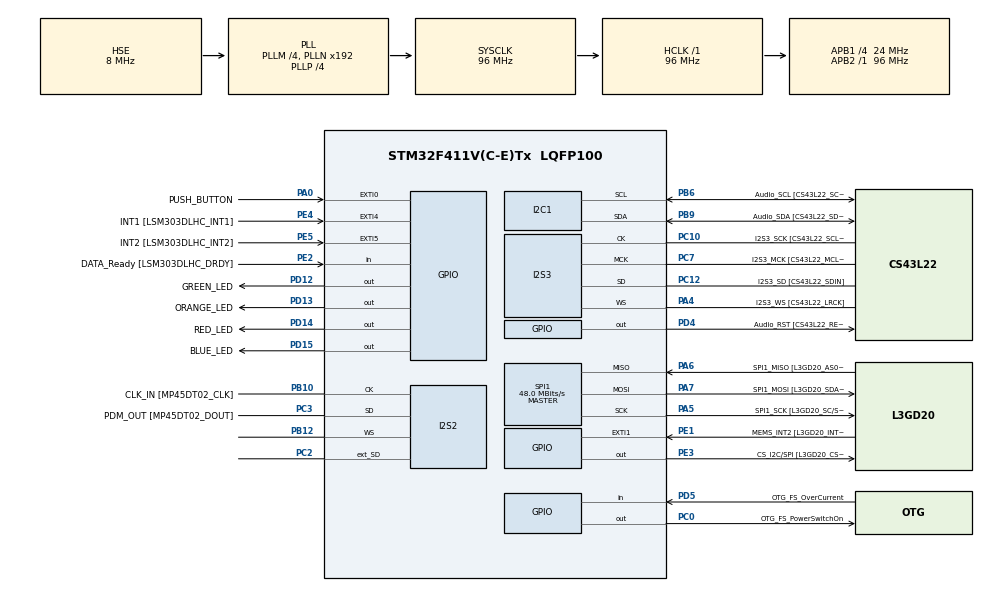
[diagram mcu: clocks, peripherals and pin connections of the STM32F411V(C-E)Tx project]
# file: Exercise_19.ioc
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FREERTOS.Queues01=QS2A,1,uint16_t,0,Dynamic,NULL,NULL
FREERTOS.Tasks01=Monitor,0,128,Start_Monitor,Default,NULL,Dynamic,NULL,NULL;Alarm,0,128,Start_Alarm,Default,NULL,Dynamic,NULL,NULL
I2S2.AudioFreq=I2S_AUDIOFREQ_96K
I2S2.ErrorAudioFreq=0.15 %
I2S2.FullDuplexMode=I2S_FULLDUPLEXMODE_ENABLE
I2S2.Instance=SPI$Index
I2S2.RealAudioFreq=96.153 KHz
I2S2.VirtualMode=I2S_MODE_MASTER
I2S3.AudioFreq=I2S_AUDIOFREQ_96K
I2S3.ErrorAudioFreq=-6.99 %
I2S3.FullDuplexMode=I2S_FULLDUPLEXMODE_DISABLE
I2S3.Instance=SPI$Index
I2S3.RealAudioFreq=89.285 KHz
I2S3.VirtualMode=I2S_MODE_MASTER
Mcu.Family=STM32F4
Mcu.Name=STM32F411V(C-E)Tx
Mcu.Package=LQFP100
NVIC.PriorityGroup=NVIC_PRIORITYGROUP_4
NVIC.TIM1_UP_TIM10_IRQn=true\:0\:0\:false\:false\:true\:false\:false\:true
NVIC.TimeBase=TIM1_UP_TIM10_IRQn
NVIC.TimeBaseIP=TIM1
PA0-WKUP.GPIO_Label=PUSH_BUTTON
PA0-WKUP.GPIO_ModeDefaultEXTI=GPIO_MODE_EVT_RISING
PA0-WKUP.Signal=GPXTI0
PA10.GPIO_Label=OTG_FS_ID
PA10.Signal=USB_OTG_FS_ID
PA11.GPIO_Label=OTG_FS_DM
PA11.Signal=USB_OTG_FS_DM
PA12.GPIO_Label=OTG_FS_DP
PA12.Signal=USB_OTG_FS_DP
PA13.GPIO_Label=SWDIO
PA13.Mode=Serial_Wire
PA13.Signal=SYS_JTMS-SWDIO
PA14.GPIO_Label=SWCLK
PA14.Mode=Serial_Wire
PA14.Signal=SYS_JTCK-SWCLK
PA4.GPIO_Label=I2S3_WS [CS43L22_LRCK]
PA4.GPIO_Mode=GPIO_MODE_AF_PP
PA4.GPIO_PuPd=GPIO_NOPULL
PA4.GPIO_Speed=GPIO_SPEED_FREQ_LOW
PA4.Mode=Half_Duplex_Master
PA4.Signal=I2S3_WS
PA5.GPIO_Label=SPI1_SCK [L3GD20_SC/SPC]
PA5.Mode=Full_Duplex_Master
PA5.Signal=SPI1_SCK
PA6.GPIO_Label=SPI1_MISO [L3GD20_AS0/SDO]
PA6.Mode=Full_Duplex_Master
PA6.Signal=SPI1_MISO
PA7.GPIO_Label=SPI1_MOSI [L3GD20_SDA/SDI/SDO]
PA7.Mode=Full_Duplex_Master
PA7.Signal=SPI1_MOSI
PA9.GPIO_Label=VBUS_FS
PA9.Signal=USB_OTG_FS_VBUS
PB10.GPIO_Label=CLK_IN [MP45DT02_CLK]
PB10.Mode=Full_Duplex_Master
PB10.Signal=I2S2_CK
PB12.Mode=Full_Duplex_Master
PB12.Signal=I2S2_WS
PB3.GPIO_Label=SWO
PB3.Signal=SYS_JTDO-SWO
PB6.GPIO_Label=Audio_SCL [CS43L22_SCL]
PB6.GPIO_Mode=GPIO_MODE_AF_OD
PB6.GPIO_PuPd=GPIO_NOPULL
PB6.GPIO_Speed=GPIO_SPEED_FREQ_LOW
PB6.Mode=I2C
PB6.Signal=I2C1_SCL
PB9.GPIO_Label=Audio_SDA [CS43L22_SDA]
PB9.GPIO_Mode=GPIO_MODE_AF_OD
PB9.GPIO_PuPd=GPIO_NOPULL
PB9.GPIO_Speed=GPIO_SPEED_FREQ_LOW
PB9.Mode=I2C
PB9.Signal=I2C1_SDA
PC0.GPIO_Label=OTG_FS_PowerSwitchOn
PC0.PinState=GPIO_PIN_SET
PC0.Signal=GPIO_Output
PC10.GPIO_Label=I2S3_SCK [CS43L22_SCLK]
PC10.GPIO_Mode=GPIO_MODE_AF_PP
PC10.GPIO_PuPd=GPIO_NOPULL
PC10.GPIO_Speed=GPIO_SPEED_FREQ_LOW
PC10.Mode=Half_Duplex_Master
PC10.Signal=I2S3_CK
PC12.GPIO_Label=I2S3_SD [CS43L22_SDIN]
PC12.GPIO_Mode=GPIO_MODE_AF_PP
PC12.GPIO_PuPd=GPIO_NOPULL
PC12.GPIO_Speed=GPIO_SPEED_FREQ_LOW
PC12.Mode=Half_Duplex_Master
PC12.Signal=I2S3_SD
PC14-OSC32_IN.GPIO_Label=PC14-OSC32_IN
PC14-OSC32_IN.Mode=LSE-External-Oscillator
PC14-OSC32_IN.Signal=RCC_OSC32_IN
PC15-OSC32_OUT.GPIO_Label=PC15-OSC32_OUT
PC15-OSC32_OUT.Mode=LSE-External-Oscillator
PC15-OSC32_OUT.Signal=RCC_OSC32_OUT
PC2.Mode=Full_Duplex_Master
PC2.Signal=I2S2_ext_SD
PC3.GPIO_Label=PDM_OUT [MP45DT02_DOUT]
PC3.Mode=Full_Duplex_Master
PC3.Signal=I2S2_SD
PC7.GPIO_Label=I2S3_MCK [CS43L22_MCLK]
PC7.GPIO_Mode=GPIO_MODE_AF_PP
PC7.GPIO_PuPd=GPIO_NOPULL
PC7.GPIO_Speed=GPIO_SPEED_FREQ_LOW
PC7.Mode=Master_Clock_Activated
PC7.Signal=I2S3_MCK
PD12.GPIO_Label=GREEN_LED
PD12.GPIO_PuPd=GPIO_NOPULL
PD12.GPIO_Speed=GPIO_SPEED_FREQ_LOW
PD12.Signal=GPIO_Output
PD13.GPIO_Label=ORANGE_LED
PD13.GPIO_PuPd=GPIO_NOPULL
PD13.GPIO_Speed=GPIO_SPEED_FREQ_LOW
PD13.Signal=GPIO_Output
PD14.GPIO_Label=RED_LED
PD14.GPIO_PuPd=GPIO_NOPULL
PD14.GPIO_Speed=GPIO_SPEED_FREQ_LOW
PD14.Signal=GPIO_Output
PD15.GPIO_Label=BLUE_LED
PD15.GPIO_PuPd=GPIO_NOPULL
PD15.GPIO_Speed=GPIO_SPEED_FREQ_LOW
PD15.Signal=GPIO_Output
PD4.GPIO_Label=Audio_RST [CS43L22_RESET]
PD4.Signal=GPIO_Output
PD5.GPIO_Label=OTG_FS_OverCurrent
PD5.Signal=GPIO_Input
PE1.GPIO_Label=MEMS_INT2 [L3GD20_INT2]
PE1.GPIO_ModeDefaultEXTI=GPIO_MODE_EVT_RISING
PE1.Signal=GPXTI1
PE2.GPIO_Label=DATA_Ready [LSM303DLHC_DRDY]
PE2.Signal=GPIO_Input
PE3.GPIO_Label=CS_I2C/SPI [L3GD20_CS_I2C/SPI]
PE3.Signal=GPIO_Output
PE4.GPIO_Label=INT1 [LSM303DLHC_INT1]
PE4.GPIO_ModeDefaultEXTI=GPIO_MODE_EVT_RISING
PE4.Signal=GPXTI4
PE5.GPIO_Label=INT2 [LSM303DLHC_INT2]
PE5.GPIO_ModeDefaultEXTI=GPIO_MODE_EVT_RISING
PE5.Signal=GPXTI5
PH0\ -\ OSC_IN.GPIO_Label=PH0-OSC_IN
PH0\ -\ OSC_IN.Mode=HSE-External-Oscillator
PH0\ -\ OSC_IN.Signal=RCC_OSC_IN
PH1\ -\ OSC_OUT.GPIO_Label=PH1-OSC_OUT
PH1\ -\ OSC_OUT.Mode=HSE-External-Oscillator
PH1\ -\ OSC_OUT.Signal=RCC_OSC_OUT
ProjectManager.HeapSize=0x200
ProjectManager.StackSize=0x400
ProjectManager.TargetToolchain=STM32CubeIDE
RCC.48MHZClocksFreq_Value=48000000
RCC.AHBFreq_Value=96000000
RCC.APB1CLKDivider=RCC_HCLK_DIV4
RCC.APB1Freq_Value=24000000
RCC.APB1TimFreq_Value=48000000
RCC.APB2Freq_Value=96000000
RCC.APB2TimFreq_Value=96000000
RCC.CortexFreq_Value=96000000
RCC.HCLKFreq_Value=96000000
RCC.HSE_VALUE=8000000
RCC.HSI_VALUE=16000000
RCC.PLLI2SM=5
RCC.PLLI2SN=200
RCC.PLLM=4
RCC.PLLP=RCC_PLLP_DIV4
RCC.PLLQ=8
RCC.PLLSourceVirtual=RCC_PLLSOURCE_HSE
RCC.SYSCLKFreq_VALUE=96000000
RCC.SYSCLKSource=RCC_SYSCLKSOURCE_PLLCLK
RCC.VCOOutputFreq_Value=384000000
SPI1.BaudRatePrescaler=SPI_BAUDRATEPRESCALER_2
SPI1.CalculateBaudRate=48.0 MBits/s
SPI1.Direction=SPI_DIRECTION_2LINES
SPI1.Mode=SPI_MODE_MASTER
SPI1.VirtualType=VM_MASTER
VP_FREERTOS_VS_CMSIS_V1.Mode=CMSIS_V1
VP_SYS_VS_tim1.Mode=TIM1
board=STM32F411E-DISCO

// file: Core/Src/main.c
/* USER CODE BEGIN Header */
/**
  ******************************************************************************
  * @file           : main.c
  * @brief          : Main program body
  ******************************************************************************
  * @attention
  *
  * <h2><center>&copy; Copyright (c) 2024 STMicroelectronics.
  * All rights reserved.</center></h2>
  *
  * This software component is licensed by ST under Ultimate Liberty license
  * SLA0044, the "License"; You may not use this file except in compliance with
  * the License. You may obtain a copy of the License at:
  *                             www.st.com/SLA0044
  *
  ******************************************************************************
  */
/* USER CODE END Header */

#include "main.h"
#include "cmsis_os.h"

/* USER CODE BEGIN PTD */
typedef enum {ALARM_ON,ALARM_OFF} alarm_status_t ;
/* USER CODE END PTD */

I2C_HandleTypeDef hi2c1;

I2S_HandleTypeDef hi2s2;
I2S_HandleTypeDef hi2s3;

SPI_HandleTypeDef hspi1;

osThreadId MonitorHandle;
osThreadId AlarmHandle;
osMessageQId QS2AHandle;

void SystemClock_Config(void);
static void MX_GPIO_Init(void);
static void MX_I2C1_Init(void);
static void MX_I2S2_Init(void);
static void MX_I2S3_Init(void);
static void MX_SPI1_Init(void);
void Start_Monitor(void const * argument);
void Start_Alarm(void const * argument);

int main(void)
{

  /* MCU Configuration--------------------------------------------------------*/

  /* Reset of all peripherals, Initializes the Flash interface and the Systick. */
  HAL_Init();

  /* Configure the system clock */
  SystemClock_Config();

  /* Initialize all configured peripherals */
  MX_GPIO_Init();
  MX_I2C1_Init();
  MX_I2S2_Init();
  MX_I2S3_Init();
  MX_SPI1_Init();

  /* Create the queue(s) */
  /* definition and creation of QS2A */
  osMessageQDef(QS2A, 1, uint16_t);
  QS2AHandle = osMessageCreate(osMessageQ(QS2A), NULL);

  /* Create the thread(s) */
  /* definition and creation of Monitor */
  osThreadDef(Monitor, Start_Monitor, osPriorityNormal, 0, 128);
  MonitorHandle = osThreadCreate(osThread(Monitor), NULL);

  /* definition and creation of Alarm */
  osThreadDef(Alarm, Start_Alarm, osPriorityNormal, 0, 128);
  AlarmHandle = osThreadCreate(osThread(Alarm), NULL);

  /* Start scheduler */
  osKernelStart();

  /* We should never get here as control is now taken by the scheduler */

  /* Infinite loop */
  while (1)
  {

  }
}

void SystemClock_Config(void)
{
  RCC_OscInitTypeDef RCC_OscInitStruct = {0};
  RCC_ClkInitTypeDef RCC_ClkInitStruct = {0};
  RCC_PeriphCLKInitTypeDef PeriphClkInitStruct = {0};

  /** Configure the main internal regulator output voltage
  */
  __HAL_RCC_PWR_CLK_ENABLE();
  __HAL_PWR_VOLTAGESCALING_CONFIG(PWR_REGULATOR_VOLTAGE_SCALE1);
  /** Initializes the CPU, AHB and APB busses clocks
  */
  RCC_OscInitStruct.OscillatorType = RCC_OSCILLATORTYPE_HSE;
  RCC_OscInitStruct.HSEState = RCC_HSE_ON;
  RCC_OscInitStruct.PLL.PLLState = RCC_PLL_ON;
  RCC_OscInitStruct.PLL.PLLSource = RCC_PLLSOURCE_HSE;
  RCC_OscInitStruct.PLL.PLLM = 4;
  RCC_OscInitStruct.PLL.PLLN = 192;
  RCC_OscInitStruct.PLL.PLLP = RCC_PLLP_DIV4;
  RCC_OscInitStruct.PLL.PLLQ = 8;
  if (HAL_RCC_OscConfig(&RCC_OscInitStruct) != HAL_OK)
  {
    Error_Handler();
  }
  /** Initializes the CPU, AHB and APB busses clocks
  */
  RCC_ClkInitStruct.ClockType = RCC_CLOCKTYPE_HCLK|RCC_CLOCKTYPE_SYSCLK
                              |RCC_CLOCKTYPE_PCLK1|RCC_CLOCKTYPE_PCLK2;
  RCC_ClkInitStruct.SYSCLKSource = RCC_SYSCLKSOURCE_PLLCLK;
  RCC_ClkInitStruct.AHBCLKDivider = RCC_SYSCLK_DIV1;
  RCC_ClkInitStruct.APB1CLKDivider = RCC_HCLK_DIV4;
  RCC_ClkInitStruct.APB2CLKDivider = RCC_HCLK_DIV1;

  if (HAL_RCC_ClockConfig(&RCC_ClkInitStruct, FLASH_LATENCY_3) != HAL_OK)
  {
    Error_Handler();
  }
  PeriphClkInitStruct.PeriphClockSelection = RCC_PERIPHCLK_I2S;
  PeriphClkInitStruct.PLLI2S.PLLI2SN = 200;
  PeriphClkInitStruct.PLLI2S.PLLI2SM = 5;
  PeriphClkInitStruct.PLLI2S.PLLI2SR = 2;
  if (HAL_RCCEx_PeriphCLKConfig(&PeriphClkInitStruct) != HAL_OK)
  {
    Error_Handler();
  }
}

static void MX_I2C1_Init(void)
{

  hi2c1.Instance = I2C1;
  hi2c1.Init.ClockSpeed = 100000;
  hi2c1.Init.DutyCycle = I2C_DUTYCYCLE_2;
  hi2c1.Init.OwnAddress1 = 0;
  hi2c1.Init.AddressingMode = I2C_ADDRESSINGMODE_7BIT;
  hi2c1.Init.DualAddressMode = I2C_DUALADDRESS_DISABLE;
  hi2c1.Init.OwnAddress2 = 0;
  hi2c1.Init.GeneralCallMode = I2C_GENERALCALL_DISABLE;
  hi2c1.Init.NoStretchMode = I2C_NOSTRETCH_DISABLE;
  if (HAL_I2C_Init(&hi2c1) != HAL_OK)
  {
    Error_Handler();
  }

}

static void MX_I2S2_Init(void)
{

  hi2s2.Instance = SPI2;
  hi2s2.Init.Mode = I2S_MODE_MASTER_TX;
  hi2s2.Init.Standard = I2S_STANDARD_PHILIPS;
  hi2s2.Init.DataFormat = I2S_DATAFORMAT_16B;
  hi2s2.Init.MCLKOutput = I2S_MCLKOUTPUT_DISABLE;
  hi2s2.Init.AudioFreq = I2S_AUDIOFREQ_96K;
  hi2s2.Init.CPOL = I2S_CPOL_LOW;
  hi2s2.Init.ClockSource = I2S_CLOCK_PLL;
  hi2s2.Init.FullDuplexMode = I2S_FULLDUPLEXMODE_ENABLE;
  if (HAL_I2S_Init(&hi2s2) != HAL_OK)
  {
    Error_Handler();
  }

}

static void MX_I2S3_Init(void)
{

  hi2s3.Instance = SPI3;
  hi2s3.Init.Mode = I2S_MODE_MASTER_TX;
  hi2s3.Init.Standard = I2S_STANDARD_PHILIPS;
  hi2s3.Init.DataFormat = I2S_DATAFORMAT_16B;
  hi2s3.Init.MCLKOutput = I2S_MCLKOUTPUT_ENABLE;
  hi2s3.Init.AudioFreq = I2S_AUDIOFREQ_96K;
  hi2s3.Init.CPOL = I2S_CPOL_LOW;
  hi2s3.Init.ClockSource = I2S_CLOCK_PLL;
  hi2s3.Init.FullDuplexMode = I2S_FULLDUPLEXMODE_DISABLE;
  if (HAL_I2S_Init(&hi2s3) != HAL_OK)
  {
    Error_Handler();
  }

}

static void MX_SPI1_Init(void)
{

  /* SPI1 parameter configuration*/
  hspi1.Instance = SPI1;
  hspi1.Init.Mode = SPI_MODE_MASTER;
  hspi1.Init.Direction = SPI_DIRECTION_2LINES;
  hspi1.Init.DataSize = SPI_DATASIZE_8BIT;
  hspi1.Init.CLKPolarity = SPI_POLARITY_LOW;
  hspi1.Init.CLKPhase = SPI_PHASE_1EDGE;
  hspi1.Init.NSS = SPI_NSS_SOFT;
  hspi1.Init.BaudRatePrescaler = SPI_BAUDRATEPRESCALER_2;
  hspi1.Init.FirstBit = SPI_FIRSTBIT_MSB;
  hspi1.Init.TIMode = SPI_TIMODE_DISABLE;
  hspi1.Init.CRCCalculation = SPI_CRCCALCULATION_DISABLE;
  hspi1.Init.CRCPolynomial = 10;
  if (HAL_SPI_Init(&hspi1) != HAL_OK)
  {
    Error_Handler();
  }

}

static void MX_GPIO_Init(void)
{
  GPIO_InitTypeDef GPIO_InitStruct = {0};

  /* GPIO Ports Clock Enable */
  __HAL_RCC_GPIOE_CLK_ENABLE();
  __HAL_RCC_GPIOC_CLK_ENABLE();
  __HAL_RCC_GPIOH_CLK_ENABLE();
  __HAL_RCC_GPIOA_CLK_ENABLE();
  __HAL_RCC_GPIOB_CLK_ENABLE();
  __HAL_RCC_GPIOD_CLK_ENABLE();

  /*Configure GPIO pin Output Level */
  HAL_GPIO_WritePin(CS_I2C_SPI_GPIO_Port, CS_I2C_SPI_Pin, GPIO_PIN_RESET);

  /*Configure GPIO pin Output Level */
  HAL_GPIO_WritePin(OTG_FS_PowerSwitchOn_GPIO_Port, OTG_FS_PowerSwitchOn_Pin, GPIO_PIN_SET);

  /*Configure GPIO pin Output Level */
  HAL_GPIO_WritePin(GPIOD, GREEN_LED_Pin|ORANGE_LED_Pin|RED_LED_Pin|BLUE_LED_Pin
                          |Audio_RST_Pin, GPIO_PIN_RESET);

  /*Configure GPIO pin : DATA_Ready_Pin */
  GPIO_InitStruct.Pin = DATA_Ready_Pin;
  GPIO_InitStruct.Mode = GPIO_MODE_INPUT;
  GPIO_InitStruct.Pull = GPIO_NOPULL;
  HAL_GPIO_Init(DATA_Ready_GPIO_Port, &GPIO_InitStruct);

  /*Configure GPIO pin : CS_I2C_SPI_Pin */
  GPIO_InitStruct.Pin = CS_I2C_SPI_Pin;
  GPIO_InitStruct.Mode = GPIO_MODE_OUTPUT_PP;
  GPIO_InitStruct.Pull = GPIO_NOPULL;
  GPIO_InitStruct.Speed = GPIO_SPEED_FREQ_LOW;
  HAL_GPIO_Init(CS_I2C_SPI_GPIO_Port, &GPIO_InitStruct);

  /*Configure GPIO pins : INT1_Pin INT2_Pin MEMS_INT2_Pin */
  GPIO_InitStruct.Pin = INT1_Pin|INT2_Pin|MEMS_INT2_Pin;
  GPIO_InitStruct.Mode = GPIO_MODE_EVT_RISING;
  GPIO_InitStruct.Pull = GPIO_NOPULL;
  HAL_GPIO_Init(GPIOE, &GPIO_InitStruct);

  /*Configure GPIO pin : OTG_FS_PowerSwitchOn_Pin */
  GPIO_InitStruct.Pin = OTG_FS_PowerSwitchOn_Pin;
  GPIO_InitStruct.Mode = GPIO_MODE_OUTPUT_PP;
  GPIO_InitStruct.Pull = GPIO_NOPULL;
  GPIO_InitStruct.Speed = GPIO_SPEED_FREQ_LOW;
  HAL_GPIO_Init(OTG_FS_PowerSwitchOn_GPIO_Port, &GPIO_InitStruct);

  /*Configure GPIO pin : PUSH_BUTTON_Pin */
  GPIO_InitStruct.Pin = PUSH_BUTTON_Pin;
  GPIO_InitStruct.Mode = GPIO_MODE_EVT_RISING;
  GPIO_InitStruct.Pull = GPIO_NOPULL;
  HAL_GPIO_Init(PUSH_BUTTON_GPIO_Port, &GPIO_InitStruct);

  /*Configure GPIO pins : GREEN_LED_Pin ORANGE_LED_Pin RED_LED_Pin BLUE_LED_Pin
                           Audio_RST_Pin */
  GPIO_InitStruct.Pin = GREEN_LED_Pin|ORANGE_LED_Pin|RED_LED_Pin|BLUE_LED_Pin
                          |Audio_RST_Pin;
  GPIO_InitStruct.Mode = GPIO_MODE_OUTPUT_PP;
  GPIO_InitStruct.Pull = GPIO_NOPULL;
  GPIO_InitStruct.Speed = GPIO_SPEED_FREQ_LOW;
  HAL_GPIO_Init(GPIOD, &GPIO_InitStruct);

  /*Configure GPIO pin : VBUS_FS_Pin */
  GPIO_InitStruct.Pin = VBUS_FS_Pin;
  GPIO_InitStruct.Mode = GPIO_MODE_INPUT;
  GPIO_InitStruct.Pull = GPIO_NOPULL;
  HAL_GPIO_Init(VBUS_FS_GPIO_Port, &GPIO_InitStruct);

  /*Configure GPIO pins : OTG_FS_ID_Pin OTG_FS_DM_Pin OTG_FS_DP_Pin */
  GPIO_InitStruct.Pin = OTG_FS_ID_Pin|OTG_FS_DM_Pin|OTG_FS_DP_Pin;
  GPIO_InitStruct.Mode = GPIO_MODE_AF_PP;
  GPIO_InitStruct.Pull = GPIO_NOPULL;
  GPIO_InitStruct.Speed = GPIO_SPEED_FREQ_VERY_HIGH;
  GPIO_InitStruct.Alternate = GPIO_AF10_OTG_FS;
  HAL_GPIO_Init(GPIOA, &GPIO_InitStruct);

  /*Configure GPIO pin : OTG_FS_OverCurrent_Pin */
  GPIO_InitStruct.Pin = OTG_FS_OverCurrent_Pin;
  GPIO_InitStruct.Mode = GPIO_MODE_INPUT;
  GPIO_InitStruct.Pull = GPIO_NOPULL;
  HAL_GPIO_Init(OTG_FS_OverCurrent_GPIO_Port, &GPIO_InitStruct);

}

void Start_Monitor(void const * argument)
{
  /* USER CODE BEGIN 5 */
  alarm_status_t SensorState = ALARM_OFF;
  GPIO_PinState bitstatus,newbitstatus;
  bitstatus = HAL_GPIO_ReadPin(PUSH_BUTTON_GPIO_Port, PUSH_BUTTON_Pin);
  /* Infinite loop */
  for(;;)
  {

    newbitstatus = HAL_GPIO_ReadPin(PUSH_BUTTON_GPIO_Port, PUSH_BUTTON_Pin);
    if((bitstatus != newbitstatus) &&(GPIO_PIN_SET == newbitstatus))
    {
      if(SensorState == ALARM_OFF)
      {
    	 SensorState = ALARM_ON;
      }
      else
      {
        SensorState = ALARM_OFF;
      }
      osMessagePut(QS2AHandle,SensorState,0);
    }

    bitstatus = newbitstatus;

    if(GPIO_PIN_SET == bitstatus)
    {
      HAL_GPIO_WritePin(BLUE_LED_GPIO_Port, BLUE_LED_Pin,GPIO_PIN_SET);
    }
    else
    {
      HAL_GPIO_WritePin(BLUE_LED_GPIO_Port, BLUE_LED_Pin,GPIO_PIN_RESET);
    }

    if(ALARM_ON == SensorState)
    {
      HAL_GPIO_WritePin(ORANGE_LED_GPIO_Port,ORANGE_LED_Pin,GPIO_PIN_SET);
    }
    else
    {
      HAL_GPIO_WritePin(ORANGE_LED_GPIO_Port,ORANGE_LED_Pin,GPIO_PIN_RESET);
    }
    osDelay(250);
  }
  /* USER CODE END 5 */
}

void Start_Alarm(void const * argument)
{
  /* USER CODE BEGIN Start_Alarm */
  osEvent QueReadState;
  alarm_status_t SensorState;
  GPIO_TypeDef* GPIOx = RED_LED_GPIO_Port;
  uint16_t GPIO_Pin = RED_LED_Pin;
  /* Infinite loop */
  for(;;)
  {
	QueReadState = osMessageGet(QS2AHandle, 0);

	if(osEventMessage == QueReadState.status)
	{
	  SensorState =  (alarm_status_t)QueReadState.value.v;
	  if(ALARM_ON == SensorState)
	  {
         HAL_GPIO_WritePin(GPIOx, GPIO_Pin, GPIO_PIN_SET);
	  }
	  else if(ALARM_OFF == SensorState)
	  {
	     HAL_GPIO_WritePin(GPIOx, GPIO_Pin, GPIO_PIN_RESET);
	  }
	}
	osDelay(500);
  }
  /* USER CODE END Start_Alarm */
}

void HAL_TIM_PeriodElapsedCallback(TIM_HandleTypeDef *htim)
{
  if (htim->Instance == TIM1) {
    HAL_IncTick();
  }
}

void Error_Handler(void)
{
}

/************************ (C) COPYRIGHT STMicroelectronics *****END OF FILE****/
